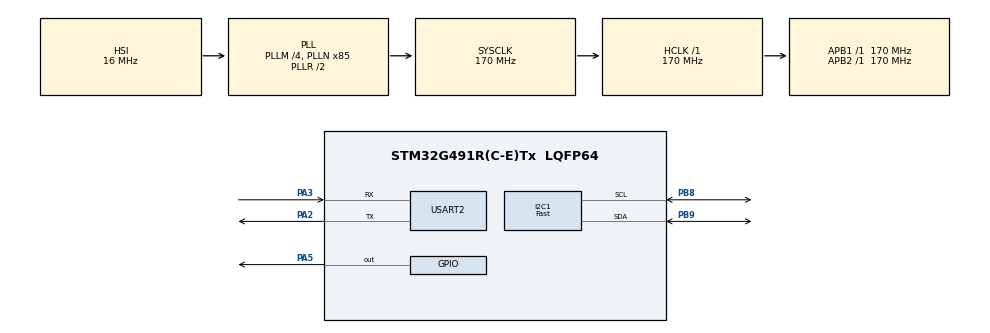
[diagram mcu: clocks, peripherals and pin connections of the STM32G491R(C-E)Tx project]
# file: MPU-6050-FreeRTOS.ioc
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FREERTOS.Tasks01=defaultTask,24,128,StartDefaultTask,Default,NULL,Dynamic,NULL,NULL
FREERTOS.configUSE_NEWLIB_REENTRANT=1
I2C1.I2C_Speed_Mode=I2C_Fast
I2C1.Timing=0x40621236
Mcu.Family=STM32G4
Mcu.Name=STM32G491R(C-E)Tx
Mcu.Package=LQFP64
NUCLEO-G491RE.BUTTON=1
NUCLEO-G491RE.LD2=true
NUCLEO-G491RE.VCP=true
NVIC.EXTI15_10_IRQn=true\:5\:0\:false\:false\:true\:true\:false\:true\:true
NVIC.PriorityGroup=NVIC_PRIORITYGROUP_4
NVIC.TIM6_DAC_IRQn=true\:15\:0\:false\:false\:true\:false\:false\:true\:true
NVIC.TimeBase=TIM6_DAC_IRQn
NVIC.TimeBaseIP=TIM6
PA13.GPIO_Label=T_SWDIO
PA13.Signal=SYS_JTMS-SWDIO
PA14.GPIO_Label=T_SWCLK
PA14.Signal=SYS_JTCK-SWCLK
PA2.Mode=Asynchronous
PA2.Signal=USART2_TX
PA3.Mode=Asynchronous
PA3.Signal=USART2_RX
PA5.Signal=GPIO_Output
PB3.GPIO_Label=T_SWO
PB3.Signal=SYS_JTDO-SWO
PB8-BOOT0.Mode=I2C
PB8-BOOT0.Signal=I2C1_SCL
PB9.Mode=I2C
PB9.Signal=I2C1_SDA
PC14-OSC32_IN.GPIO_Label=RCC_OSC32_IN
PC14-OSC32_IN.Signal=RCC_OSC32_IN
PC15-OSC32_OUT.GPIO_Label=RCC_OSC32_OUT
PC15-OSC32_OUT.Signal=RCC_OSC32_OUT
PF0-OSC_IN.GPIO_Label=RCC_OSC_IN
PF0-OSC_IN.Signal=RCC_OSC_IN
PF1-OSC_OUT.GPIO_Label=RCC_OSC_OUT
PF1-OSC_OUT.Signal=RCC_OSC_OUT
ProjectManager.HeapSize=0x200
ProjectManager.StackSize=0x400
ProjectManager.TargetToolchain=STM32CubeIDE
RCC.ADC12Freq_Value=170000000
RCC.ADC345Freq_Value=170000000
RCC.AHBFreq_Value=170000000
RCC.APB1Freq_Value=170000000
RCC.APB1TimFreq_Value=170000000
RCC.APB2Freq_Value=170000000
RCC.APB2TimFreq_Value=170000000
RCC.CortexFreq_Value=170000000
RCC.EXTERNAL_CLOCK_VALUE=12288000
RCC.HCLKFreq_Value=170000000
RCC.HSE_VALUE=24000000
RCC.HSI48_VALUE=48000000
RCC.HSI_VALUE=16000000
RCC.LSE_VALUE=32768
RCC.PLLM=RCC_PLLM_DIV4
RCC.PLLN=85
RCC.RTCClockSelection=RCC_RTCCLKSOURCE_LSE
RCC.SYSCLKFreq_VALUE=170000000
RCC.SYSCLKSource=RCC_SYSCLKSOURCE_PLLCLK
RCC.USBFreq_Value=48000000
RCC.VCOOutputFreq_Value=340000000
USART2.VirtualMode-Asynchronous=VM_ASYNC
VP_FREERTOS_VS_CMSIS_V2.Mode=CMSIS_V2
VP_NUCLEO-G491RE_VS_BSP_COMMON.Mode=COMMON
VP_SYS_VS_DBSignals.Mode=DisableDeadBatterySignals
VP_SYS_VS_tim6.Mode=TIM6
board=NUCLEO-G491RE

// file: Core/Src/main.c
/* USER CODE BEGIN Header */
/**
  ******************************************************************************
  * @file           : main.c
  * @brief          : Main program body
  ******************************************************************************
  * @attention
  *
  * Copyright (c) 2026 STMicroelectronics.
  * All rights reserved.
  *
  * This software is licensed under terms that can be found in the LICENSE file
  * in the root directory of this software component.
  * If no LICENSE file comes with this software, it is provided AS-IS.
  *
  ******************************************************************************
  */
/* USER CODE END Header */
#include "main.h"
#include "cmsis_os.h"
#include "i2c.h"
#include "usart.h"
#include "gpio.h"

/* USER CODE BEGIN Includes */

#include <math.h>

/* USER CODE END Includes */

/* USER CODE BEGIN PD */
#define MPU6050_ADDR 		0x68 // AD0 tied to GND
#define WHO_AM_I_REG 		0x75
#define PWR_MGMT_1_REG 		0x6B
#define ACCEL_XOUT_H 		0x3B
#define GYRO_XOUT_H 		0x43
/* USER CODE END PD */

COM_InitTypeDef BspCOMInit;

/* USER CODE BEGIN PV */

QueueHandle_t imuQueue;
QueueHandle_t orientQueue;
SemaphoreHandle_t uartMutex;

/* USER CODE END PV */

void SystemClock_Config(void);
void MX_FREERTOS_Init(void);

/* USER CODE BEGIN 0 */

int _write(int file, char *ptr, int len)
{
    HAL_UART_Transmit(&huart2, (uint8_t *)ptr, len, HAL_MAX_DELAY);
    return len;
}

// IMU Task - Read raw sensor data
void IMU_Task(void *argument)
{
    imu_data_t imu;
    uint8_t accel_raw[6], gyro_raw[6];

    for (;;)
    {
        if (HAL_I2C_Mem_Read(&hi2c1, MPU6050_ADDR << 1,
                             ACCEL_XOUT_H, I2C_MEMADD_SIZE_8BIT,
                             accel_raw, 6, 100) != HAL_OK)
        {
            vTaskDelay(pdMS_TO_TICKS(200));
            continue;
        }

        if (HAL_I2C_Mem_Read(&hi2c1, MPU6050_ADDR << 1,
                             GYRO_XOUT_H, I2C_MEMADD_SIZE_8BIT,
                             gyro_raw, 6, 100) != HAL_OK)
        {
            vTaskDelay(pdMS_TO_TICKS(200));
            continue;
        }

        imu.ax_g = ((int16_t)(accel_raw[0] << 8 | accel_raw[1])) / 16384.0f;
        imu.ay_g = ((int16_t)(accel_raw[2] << 8 | accel_raw[3])) / 16384.0f;
        imu.az_g = ((int16_t)(accel_raw[4] << 8 | accel_raw[5])) / 16384.0f;

        imu.gx_dps = ((int16_t)(gyro_raw[0] << 8 | gyro_raw[1])) / 131.0f;
        imu.gy_dps = ((int16_t)(gyro_raw[2] << 8 | gyro_raw[3])) / 131.0f;
        imu.gz_dps = ((int16_t)(gyro_raw[4] << 8 | gyro_raw[5])) / 131.0f;

        xQueueSend(imuQueue, &imu, 0);

        vTaskDelay(pdMS_TO_TICKS(200));
    }
}

// Orinetation task - calculating roll and pitch

void Orientation_Task(void *argument)
{
    imu_data_t imu;
    orientation_t orient;

    for (;;)
    {
        if (xQueueReceive(imuQueue, &imu, portMAX_DELAY) == pdTRUE)
        {
            float roll  = atan2f(imu.ay_g, imu.az_g);
            float pitch = atan2f(-imu.ax_g,
                                  sqrtf(imu.ay_g * imu.ay_g +
                                        imu.az_g * imu.az_g));

            orient.roll_deg  = roll  * 57.2957795f;
            orient.pitch_deg = pitch * 57.2957795f;

            xQueueSend(orientQueue, &orient, 0);
        }
    }
}

// Logger task - print on serial terminal

void Logger_Task(void *argument)
{
    orientation_t orient;

    for (;;)
    {
        if (xQueueReceive(orientQueue, &orient, portMAX_DELAY) == pdTRUE)
        {
        	if (xSemaphoreTake(uartMutex, portMAX_DELAY))
        	{
        	    printf("ROLL=%.2f deg | PITCH=%.2f deg\r\n",
        	           orient.roll_deg,
        	           orient.pitch_deg);
        	    xSemaphoreGive(uartMutex);
        	}
        }
    }
}

/* USER CODE END 0 */

int main(void)
{

  /* MCU Configuration--------------------------------------------------------*/

  /* Reset of all peripherals, Initializes the Flash interface and the Systick. */
  HAL_Init();

  /* Configure the system clock */
  SystemClock_Config();

  /* Initialize all configured peripherals */
  MX_GPIO_Init();
  MX_I2C1_Init();
  MX_USART2_UART_Init();
  /* USER CODE BEGIN 2 */
  printf("Scanning I2C bus...\r\n");

  for (uint8_t addr = 1; addr < 127; addr++)
  {
	  if (HAL_I2C_IsDeviceReady(&hi2c1, addr << 1, 1, 10) == HAL_OK)
	  {
		  printf("Found device at 0x%02X\r\n", addr);
	  }
  }

  printf("UART ALIVE\r\n");

  uint8_t data = 0x00;
  uint8_t who_am_i = 0;
  HAL_I2C_Mem_Write(&hi2c1, MPU6050_ADDR << 1,
                    PWR_MGMT_1_REG,
                    I2C_MEMADD_SIZE_8BIT,
                    &data, 1, 100);
  HAL_Delay(100);

  HAL_I2C_Mem_Read(
       &hi2c1,
       MPU6050_ADDR << 1,
       WHO_AM_I_REG,
       1,
       &who_am_i,
       1,
       HAL_MAX_DELAY
   );
  printf("WHO_AM_I = 0x%02X\r\n", who_am_i);
  /* USER CODE END 2 */

  /* Init scheduler */
  osKernelInitialize();  /* Call init function for freertos objects (in cmsis_os2.c) */
  MX_FREERTOS_Init();

//  /* Initialize led */
//  BSP_LED_Init(LED_GREEN);
//
//  /* Initialize USER push-button, will be used to trigger an interrupt each time it's pressed.*/
//  BSP_PB_Init(BUTTON_USER, BUTTON_MODE_EXTI);
//
//  /* Initialize COM1 port (115200, 8 bits (7-bit data + 1 stop bit), no parity */
//  BspCOMInit.BaudRate   = 115200;
//  BspCOMInit.WordLength = COM_WORDLENGTH_8B;
//  BspCOMInit.StopBits   = COM_STOPBITS_1;
//  BspCOMInit.Parity     = COM_PARITY_NONE;
//  BspCOMInit.HwFlowCtl  = COM_HWCONTROL_NONE;
//  if (BSP_COM_Init(COM1, &BspCOMInit) != BSP_ERROR_NONE)
//  {
//    Error_Handler();
//  }

  /* Start scheduler */
  osKernelStart();

  /* We should never get here as control is now taken by the scheduler */

  /* Infinite loop */
  while (1)
  {

  }
}

void SystemClock_Config(void)
{
  RCC_OscInitTypeDef RCC_OscInitStruct = {0};
  RCC_ClkInitTypeDef RCC_ClkInitStruct = {0};

  /** Configure the main internal regulator output voltage
  */
  HAL_PWREx_ControlVoltageScaling(PWR_REGULATOR_VOLTAGE_SCALE1_BOOST);

  /** Initializes the RCC Oscillators according to the specified parameters
  * in the RCC_OscInitTypeDef structure.
  */
  RCC_OscInitStruct.OscillatorType = RCC_OSCILLATORTYPE_HSI;
  RCC_OscInitStruct.HSIState = RCC_HSI_ON;
  RCC_OscInitStruct.HSICalibrationValue = RCC_HSICALIBRATION_DEFAULT;
  RCC_OscInitStruct.PLL.PLLState = RCC_PLL_ON;
  RCC_OscInitStruct.PLL.PLLSource = RCC_PLLSOURCE_HSI;
  RCC_OscInitStruct.PLL.PLLM = RCC_PLLM_DIV4;
  RCC_OscInitStruct.PLL.PLLN = 85;
  RCC_OscInitStruct.PLL.PLLP = RCC_PLLP_DIV2;
  RCC_OscInitStruct.PLL.PLLQ = RCC_PLLQ_DIV2;
  RCC_OscInitStruct.PLL.PLLR = RCC_PLLR_DIV2;
  if (HAL_RCC_OscConfig(&RCC_OscInitStruct) != HAL_OK)
  {
    Error_Handler();
  }

  /** Initializes the CPU, AHB and APB buses clocks
  */
  RCC_ClkInitStruct.ClockType = RCC_CLOCKTYPE_HCLK|RCC_CLOCKTYPE_SYSCLK
                              |RCC_CLOCKTYPE_PCLK1|RCC_CLOCKTYPE_PCLK2;
  RCC_ClkInitStruct.SYSCLKSource = RCC_SYSCLKSOURCE_PLLCLK;
  RCC_ClkInitStruct.AHBCLKDivider = RCC_SYSCLK_DIV1;
  RCC_ClkInitStruct.APB1CLKDivider = RCC_HCLK_DIV1;
  RCC_ClkInitStruct.APB2CLKDivider = RCC_HCLK_DIV1;

  if (HAL_RCC_ClockConfig(&RCC_ClkInitStruct, FLASH_LATENCY_4) != HAL_OK)
  {
    Error_Handler();
  }
}

void HAL_TIM_PeriodElapsedCallback(TIM_HandleTypeDef *htim)
{
  if (htim->Instance == TIM6)
  {
    HAL_IncTick();
  }
}

void Error_Handler(void)
{
  __disable_irq();
  while (1)
  {
  }
}

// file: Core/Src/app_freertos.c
/* USER CODE BEGIN Header */
/**
  ******************************************************************************
  * File Name          : app_freertos.c
  * Description        : Code for freertos applications
  ******************************************************************************
  * @attention
  *
  * Copyright (c) 2026 STMicroelectronics.
  * All rights reserved.
  *
  * This software is licensed under terms that can be found in the LICENSE file
  * in the root directory of this software component.
  * If no LICENSE file comes with this software, it is provided AS-IS.
  *
  ******************************************************************************
  */
/* USER CODE END Header */

#include "FreeRTOS.h"
#include "task.h"
#include "main.h"
#include "cmsis_os.h"

/* USER CODE BEGIN Includes */

#include "queue.h"
#include "semphr.h"

/* USER CODE END Includes */

/* Definitions for defaultTask */

//osThreadId_t defaultTaskHandle;
//
//const osThreadAttr_t defaultTask_attributes = {
//  .name = "defaultTask",
//  .priority = (osPriority_t) osPriorityNormal,
//  .stack_size = 128 * 4
//};

/* USER CODE BEGIN FunctionPrototypes */

void IMU_Task(void *argument);
void Orientation_Task(void *argument);
void Logger_Task(void *argument);

/* USER CODE END FunctionPrototypes */

//void StartDefaultTask(void *argument);

void MX_FREERTOS_Init(void); /* (MISRA C 2004 rule 8.1) */

void MX_FREERTOS_Init(void) {

  /* USER CODE BEGIN RTOS_SEMAPHORES */

  /* add semaphores, ... */

	uartMutex = xSemaphoreCreateMutex();

	if (uartMutex == NULL)
	{
	    Error_Handler(); // extremely important in real systems
	}
  /* USER CODE END RTOS_SEMAPHORES */

  /* USER CODE BEGIN RTOS_QUEUES */
  /* add queues, ... */

	//Queues
	imuQueue = xQueueCreate(4, sizeof(imu_data_t));
	configASSERT(imuQueue != NULL);

	orientQueue = xQueueCreate(4, sizeof(orientation_t));
	configASSERT(orientQueue != NULL);

	uartMutex = xSemaphoreCreateMutex();
	configASSERT(uartMutex != NULL);

	configASSERT(xTaskCreate(IMU_Task, "IMU",
	                         512, NULL, tskIDLE_PRIORITY + 3, NULL) == pdPASS);

	configASSERT(xTaskCreate(Orientation_Task, "ORIENT",
	                         512, NULL, tskIDLE_PRIORITY + 2, NULL) == pdPASS);

	configASSERT(xTaskCreate(Logger_Task, "LOGGER",
	                         512, NULL, tskIDLE_PRIORITY + 1, NULL) == pdPASS);

  /* USER CODE END RTOS_QUEUES */

  /* Create the thread(s) */

  /* creation of defaultTask */  // -> created by CubeMX
  //defaultTaskHandle = osThreadNew(StartDefaultTask, NULL, &defaultTask_attributes);

}

//void StartDefaultTask(void *argument)
//{
//  /* USER CODE BEGIN StartDefaultTask */
//  /* Infinite loop */
//  for(;;)
//  {
//    osDelay(1);
//  }
//  /* USER CODE END StartDefaultTask */
//}
